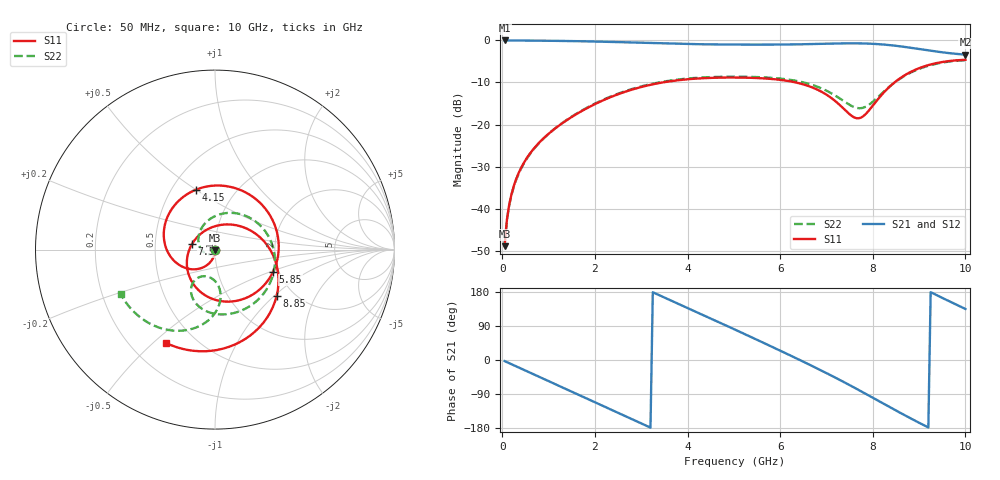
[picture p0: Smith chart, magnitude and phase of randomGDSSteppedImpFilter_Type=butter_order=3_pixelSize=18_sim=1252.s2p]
! freq	dB(S11)	phase(S11)	dB(S12)	phase(S12)
!  dB(S21)	phase(S21)	dB(S22)	phase(S22)
!S-par simulation data
#  GHz  S  DB  R 50
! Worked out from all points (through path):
!   200 points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, 50 MHz to 10 GHz, reference 50 ohm
!   highest |S21| = -0.02 dB at 50 MHz (marker M1); lowest = -3.4 dB at 10 GHz (marker M2)
!   group delay of S21, straight-line fit = 162 ps
!   lowest |S11| = -48.9 dB at 50 MHz (marker M3), VSWR 1.01, Z = 50.1 - j0.352 ohm
!   |S11| at or under -10 dB: start of sweep to 3.461 GHz; 6.335 GHz to 8.468 GHz (2.133 GHz wide, 28.8 % of centre)
!   |S22| runs from -48.4 to -4.7 dB; largest |S21 - S12| = 0
!   S11 on the Smith chart (normalised r, x): 50 MHz: 1.00, -0.01; 4.15 GHz: 0.66, +0.50; 5.85 GHz: 1.86, -0.52; 7.5 GHz: 0.77, +0.05; 8.85 GHz: 1.63, -1.04; 10 GHz: 0.35, -0.55
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0.05  -48.92 -79.3  -0.02 -2.9  -0.02 -2.9  -48.37 -83.4
0.1  -42.61 -86.0  -0.02 -5.6  -0.02 -5.6  -42.64 -93.5
0.2  -36.50 -91.3  -0.03 -11.2  -0.03 -11.2  -36.68 -105.9
0.45  -29.40 -98.5  -0.04 -25.1  -0.04 -25.1  -29.56 -131.0
1.15  -20.86 -115.4  -0.11 -64.1  -0.11 -64.1  -20.83 164.9
1.75  -16.58 -132.8  -0.21 -97.6  -0.21 -97.6  -16.47 115.2
2.15  -14.38 -147.1  -0.31 -120.0  -0.31 -120.0  -14.25 85.1
2.65  -12.22 -168.4  -0.46 -147.9  -0.46 -147.9  -12.08 50.9
3.4  -10.12 153.4  -0.70 170.5  -0.70 170.5  -9.96 6.5
4.15  -9.11 107.6  -0.89 129.1  -0.89 129.1  -8.93 -29.9
4.6  -8.88 76.5  -0.96 104.1  -0.96 104.1  -8.69 -48.2
5.05  -8.83 42.8  -1.00 78.8  -1.00 78.8  -8.63 -64.4
5.85  -9.20 -20.9  -1.00 33.3  -1.00 33.3  -8.93 -90.2
6.3  -9.92 -58.2  -0.95 7.3  -0.95 7.3  -9.52 -104.0
6.7  -11.21 -93.0  -0.87 -16.3  -0.87 -16.3  -10.60 -115.3
7.1  -13.65 -133.2  -0.76 -40.7  -0.76 -40.7  -12.54 -123.1
7.5  -17.56 167.2  -0.70 -66.2  -0.70 -66.2  -15.32 -118.1
7.8  -17.98 96.8  -0.73 -86.0  -0.73 -86.0  -15.98 -98.8
8.35  -11.14 9.5  -1.10 -123.2  -1.10 -123.2  -11.09 -83.8
8.85  -7.33 -37.1  -1.80 -156.1  -1.80 -156.1  -7.49 -99.4
9.45  -5.24 -81.7  -2.76 166.9  -2.76 166.9  -5.39 -126.8
10  -4.62 -117.9  -3.38 134.7  -3.38 134.7  -4.72 -154.5
